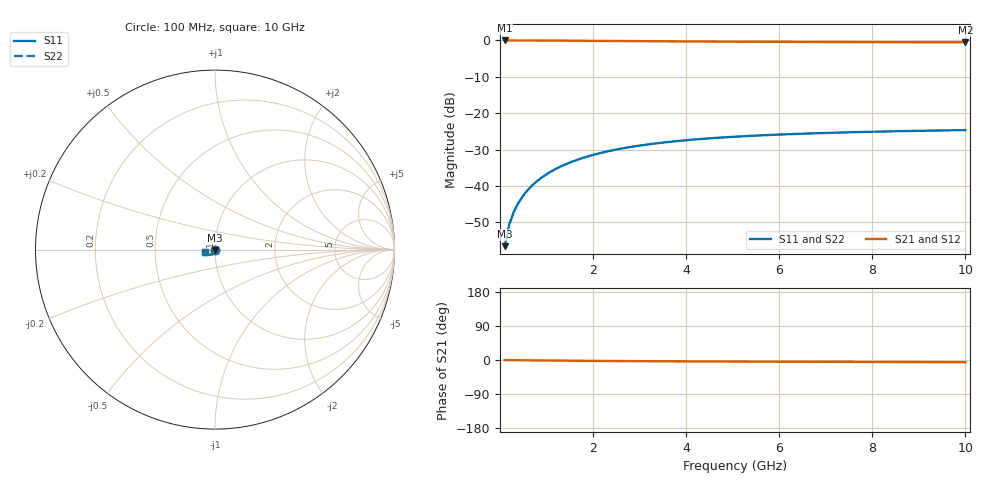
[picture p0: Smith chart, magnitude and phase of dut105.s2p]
! Touchstone file exported from HFSS 2024.1.0
!  File:  C:/UserFiles/LocalFiles/RDL_TSV_Batchsim/temp_TSV1_105_1778764886.aedt
!  Generated:  09:26:26 PM May 14, 2026
!  Design:  TSV1
!  Project:  temp_TSV1_105_1778764886
!  Setup:  Setup1
!  Solution:  Sweep
! Variables:
!  dtsv = 10.02um
!  hbump = 3um
!  htsv = 92.5um
!  lrdl = 252.1521522um
!  p = 40
!  p1 = 40.39um
!  t = 500um
!  trdl = 3um
!  wrdl = 24.89489489um
# GHz S MA R 50.000000
! Terminal data exported
! Port[1] = TSV22_T1
! Port[2] = TSV22_T2
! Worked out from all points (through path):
!   100 points, 100 MHz to 10 GHz, reference 50 ohm
!   highest |S21| = 0.00 dB at 100 MHz (marker M1); lowest = -0.5 dB at 10 GHz (marker M2)
!   lowest |S11| = -56.6 dB at 100 MHz (marker M3), VSWR 1.00, Z = 50 - j0.148 ohm
!   |S11| at or under -10 dB: start of sweep to end of sweep
!   |S22| runs from -56.6 to -24.7 dB; largest |S21 - S12| = 4.2e-15
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0.1  0.00148 -85.1  0.9998 -0.1  0.9998 -0.1  0.00148 -85.1
! Gamma 0 0 0 0
! Port Impedance 50 0 50 0
0.2  0.002949 -89.6  0.9997 -0.3  0.9997 -0.3  0.002949 -89.6
0.3  0.004422 -92.0  0.9995 -0.4  0.9995 -0.4  0.004422 -92.0
0.4  0.005892 -94.0  0.9992 -0.5  0.9992 -0.5  0.005892 -94.0
0.5  0.007354 -95.8  0.9988 -0.7  0.9988 -0.7  0.007354 -95.8
0.6  0.008805 -97.5  0.9984 -0.8  0.9984 -0.8  0.008805 -97.5
0.7  0.01024 -99.1  0.9979 -0.9  0.9979 -0.9  0.01024 -99.1
0.8  0.01166 -100.6  0.9974 -1.0  0.9974 -1.0  0.01166 -100.6
0.9  0.01305 -102.2  0.9968 -1.2  0.9968 -1.2  0.01305 -102.2
1.1  0.01577 -105.1  0.9954 -1.4  0.9954 -1.4  0.01577 -105.1
1.4  0.01966 -109.3  0.9931 -1.7  0.9931 -1.7  0.01966 -109.3
1.6  0.02211 -112.0  0.9913 -2.0  0.9913 -2.0  0.02211 -112.0
1.8  0.02443 -114.6  0.9895 -2.1  0.9895 -2.1  0.02443 -114.6
2.1  0.02768 -118.2  0.9866 -2.4  0.9866 -2.4  0.02768 -118.2
2.5  0.03158 -122.7  0.9827 -2.7  0.9827 -2.7  0.03158 -122.7
2.9  0.03501 -126.8  0.9789 -3.0  0.9789 -3.0  0.03501 -126.8
3.4  0.03872 -131.5  0.9743 -3.3  0.9743 -3.3  0.03872 -131.5
4.2  0.0435 -137.9  0.9678 -3.7  0.9678 -3.7  0.0435 -137.9
5.1  0.0476 -143.8  0.9616 -4.1  0.9616 -4.1  0.0476 -143.8
6.7  0.05268 -152.1  0.9533 -4.7  0.9533 -4.7  0.05268 -152.1
8.4  0.05619 -158.9  0.9472 -5.3  0.9472 -5.3  0.05619 -158.9
10  0.05847 -164.1  0.9431 -5.8  0.9431 -5.8  0.05847 -164.1
